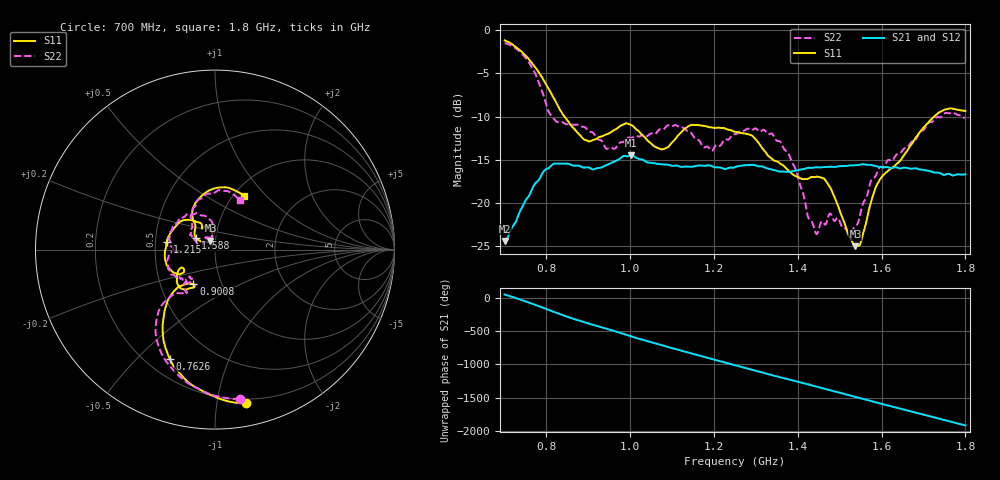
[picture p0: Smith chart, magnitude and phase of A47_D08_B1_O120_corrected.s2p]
! Created with skrf 1.9.0 (http://scikit-rf.org).
# Hz S RI R 50.0
!freq ReS11 ImS11 ReS21 ImS21 ReS12 ImS12 ReS22 ImS22
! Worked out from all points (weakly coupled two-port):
!   1601 points, 700 MHz to 1.8 GHz, reference 50 ohm
!   highest |S21| = -14.49 dB at 1.002 GHz (marker M1); lowest = -24.4 dB at 700.7 MHz (marker M2)
!   lowest |S11| = -25.0 dB at 1.537 GHz (marker M3), VSWR 1.12, Z = 47.3 + j4.75 ohm
!   |S11| at or under -10 dB: 843 MHz to 1.725 GHz (882.3 MHz wide, 68.7 % of centre)
!   |S22| runs from -23.7 to -1.5 dB; largest |S21 - S12| = 0.0036
!   S11 on the Smith chart (normalised r, x): 700 MHz: 0.17, -1.21; 762.6 MHz: 0.29, -0.63; 900.8 MHz: 0.73, -0.30; 1.215 GHz: 0.57, +0.05; 1.588 GHz: 0.80, +0.11; 1.8 GHz: 1.12, +0.76
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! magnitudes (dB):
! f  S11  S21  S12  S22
! 700 MHz  -1.2  -24.4  -24.2  -1.5
! 700.7 MHz  -1.2  -24.4  -24.1  -1.5
! 762.6 MHz  -3.6  -18.8  -18.7  -4.1
! 815.5 MHz  -7.7  -15.5  -15.6  -10.1
! 883.6 MHz  -12.3  -15.8  -15.7  -11.2
! 900.8 MHz  -12.9  -15.9  -15.9  -11.7
! 945.4 MHz  -12.0  -15.6  -15.6  -13.7
! 1.002 GHz  -11.0  -14.5  -14.6  -12.5
! 1.067 GHz  -13.7  -15.5  -15.4  -11.6
! 1.144 GHz  -11.0  -15.8  -15.8  -11.8
! 1.215 GHz  -11.3  -15.9  -15.9  -13.4
! 1.25 GHz  -11.8  -15.9  -15.8  -12.0
! 1.358 GHz  -15.4  -16.4  -16.3  -12.9
! 1.394 GHz  -16.9  -16.3  -16.3  -16.0
! 1.434 GHz  -17.0  -16.0  -15.9  -22.2
! 1.472 GHz  -17.8  -15.8  -15.8  -21.7
! 1.537 GHz  -25.0  -15.6  -15.6  -22.7
! 1.551 GHz  -24.4  -15.5  -15.6  -20.8
! 1.588 GHz  -18.0  -15.7  -15.8  -16.7
! 1.617 GHz  -16.2  -15.9  -15.9  -15.0
! 1.733 GHz  -9.6  -16.5  -16.5  -10.0
! 1.8 GHz  -9.4  -16.7  -16.7  -10.1
